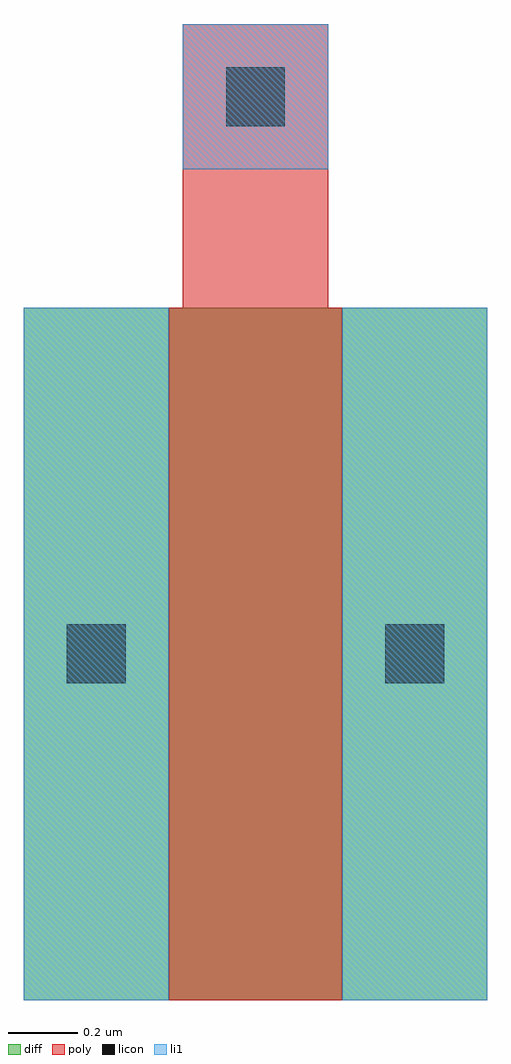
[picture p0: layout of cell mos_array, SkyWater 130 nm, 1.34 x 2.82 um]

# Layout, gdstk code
import gdstk
lib = gdstk.Library(unit=1e-6, precision=1e-09)
def R(c, l, rs):  # rectangles x0, y0, x1, y1
    for r in rs: c.add(gdstk.rectangle(r[:2], r[2:], *l))
diff = (65, 20)
poly = (66, 20)
licon = (66, 44)
li1 = (67, 20)

mos_array = lib.new_cell('mos_array')
R(mos_array, diff, [(0,0,1.34,2)])
R(mos_array, poly, [(0.42,0,0.92,2), (0.46,2,0.88,2.82)])
R(mos_array, licon, [(0.125,0.915,0.295,1.085), (1.045,0.915,1.215,1.085), (0.585,2.525,0.755,2.695)])
R(mos_array, li1, [(0,0,0.42,2), (0.92,0,1.34,2), (0.46,2.4,0.88,2.82)])

lib.write_gds('mos_array.gds')
